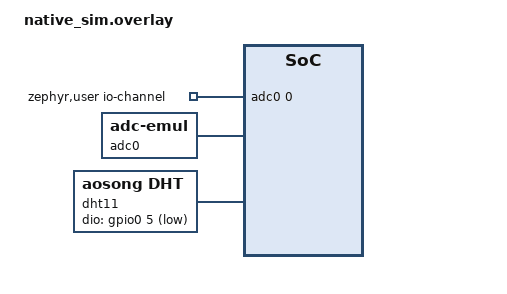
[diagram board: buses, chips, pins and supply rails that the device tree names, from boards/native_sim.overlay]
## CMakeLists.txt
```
cmake_minimum_required(VERSION 3.20.0)

find_package(Zephyr REQUIRED HINTS $ENV{ZEPHYR_BASE})
project(nrf-GrowEnv)

# NORDIC SDK APP START
add_subdirectory(src)
# add_subdirectory(tests)

# NORDIC SDK APP END
zephyr_library_include_directories(.)
```

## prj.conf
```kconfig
CONFIG_NCS_SAMPLES_DEFAULTS=y
CONFIG_LOG=y

CONFIG_SYSTEM_WORKQUEUE_STACK_SIZE=2048

# Peripherals
CONFIG_ADC=y
CONFIG_GPIO=y
CONFIG_SENSOR=y

# ZBUS
CONFIG_ZBUS=y
CONFIG_ZBUS_LOG_LEVEL_INF=y
CONFIG_ZBUS_CHANNEL_NAME=y
CONFIG_ZBUS_OBSERVER_NAME=y
CONFIG_ZBUS_MSG_SUBSCRIBER=y
CONFIG_HEAP_MEM_POOL_SIZE=4096
CONFIG_ZBUS_MSG_SUBSCRIBER_NET_BUF_POOL_SIZE=32
```

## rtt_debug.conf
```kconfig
CONFIG_PRINTK=y

CONFIG_CONSOLE=y
CONFIG_UART_CONSOLE=n
CONFIG_RTT_CONSOLE=y
# Enable RTT
CONFIG_USE_SEGGER_RTT=y

CONFIG_LOG=y
CONFIG_LOG_MODE_MINIMAL=n
CONFIG_LOG_BACKEND_RTT=y
CONFIG_LOG_BACKEND_UART=n
CONFIG_LOG_PRINTK=y
```

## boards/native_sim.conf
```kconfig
CONFIG_EXTERNAL_LIBC=y
CONFIG_ADC_EMUL=y
CONFIG_GPIO_EMUL=y
```

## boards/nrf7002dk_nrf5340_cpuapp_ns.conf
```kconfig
CONFIG_DK_LIBRARY=y

# Enable Bluetooth
CONFIG_BT=y
CONFIG_BT_PERIPHERAL=y
CONFIG_BT_DEVICE_NAME="nrf-GrowEnv"
```

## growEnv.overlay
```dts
/ {
	zephyr,user {
        io-channels = <&adc 0>;
	};

	dht11 {
		compatible = "aosong,dht";
		status = "okay";
		dio-gpios = <&gpio0 5 (GPIO_PULL_UP | GPIO_ACTIVE_LOW)>;
	};
};

&adc {
	#address-cells = <1>;
	#size-cells = <0>;
	status = "okay";
	channel@0 {
		reg = <0>;
		zephyr,gain = "ADC_GAIN_1_6";
		zephyr,reference = "ADC_REF_INTERNAL";
		zephyr,acquisition-time = <ADC_ACQ_TIME_DEFAULT>;
		zephyr,input-positive = <NRF_SAADC_AIN0>; /* P0.02 for nRF52xx, P0.04 for nRF53xx */
		zephyr,resolution = <12>;
	};
};

&i2c1 {
	status = "disabled";
};
```

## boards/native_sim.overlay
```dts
#include <zephyr/dt-bindings/adc/adc.h>
/ {
	zephyr,user {
        io-channels = <&adc0 0>;
	};

	adc0: adc {
		compatible = "zephyr,adc-emul";
		nchannels = <1>;
		ref-internal-mv = <3300>;
		ref-external1-mv = <5000>;
		#io-channel-cells = <1>;
		status = "okay";
	};

	dht11 {
		compatible = "aosong,dht";
		status = "okay";
		dio-gpios = <&gpio0 5 (GPIO_PULL_UP | GPIO_ACTIVE_LOW)>;
	};
};

&gpio0 {
    compatible = "zephyr,gpio-emul";
    gpio-controller;
    wakeup-source;
};

&adc0 {
	#address-cells = <1>;
	#size-cells = <0>;

	channel@0 {
		reg = <0>;
		zephyr,gain = "ADC_GAIN_1";
		zephyr,reference = "ADC_REF_INTERNAL";
		zephyr,vref-mv = <3300>;
		zephyr,acquisition-time = <ADC_ACQ_TIME_DEFAULT>;
		zephyr,resolution = <12>;
	};
};
```

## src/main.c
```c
/*
 * main.c
 * Copyright (c) 2024 Adrian Tayag
 *
 * SPDX-License-Identifier: MIT
 */

#include <zephyr/types.h>
#include <stddef.h>
#include <string.h>
#include <errno.h>
#include <zephyr/sys/printk.h>
#include <zephyr/sys/byteorder.h>
#include <zephyr/kernel.h>
#include <zephyr/logging/log.h>

#include <soc.h>

LOG_MODULE_REGISTER(main_func, LOG_LEVEL_DBG);

int main(void)
{
	LOG_INF("Starting NRF GrowEnv Sensor Application...");
	
	// Main thread exits, freeing up memory
	return 0;
}
```
